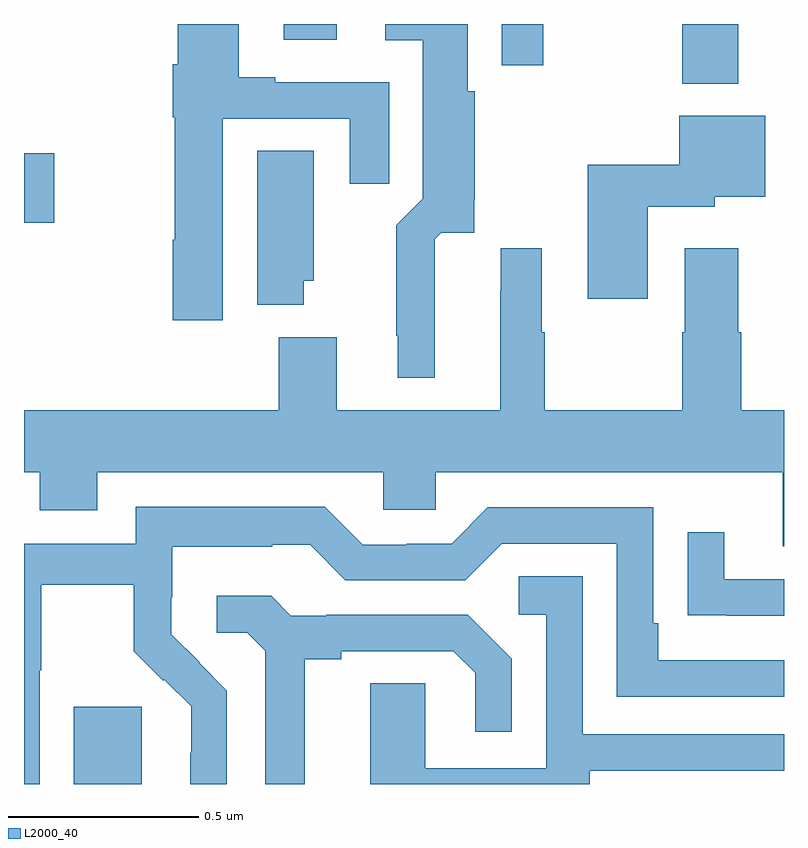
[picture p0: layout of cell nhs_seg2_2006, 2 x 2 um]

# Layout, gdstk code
import gdstk
lib = gdstk.Library(unit=1e-6, precision=1e-09)
def R(c, l, rs):  # rectangles x0, y0, x1, y1
    for r in rs: c.add(gdstk.rectangle(r[:2], r[2:], *l))
def P(c, l, *ps):  # polygons
    for p in ps: c.add(gdstk.Polygon(p, *l))
L2000_40 = (2000, 40)

nhs_seg2_2006 = lib.new_cell('nhs_seg2_2006')
R(nhs_seg2_2006, L2000_40, [(135.131,662.8,135.31,663.003), (135,664.277,135.079,664.46), (136.732,664.643,136.879,664.8), (136.257,664.692,136.366,664.8), (135.683,664.758,135.823,664.8)])
P(nhs_seg2_2006, L2000_40, [(135.523,664.551),(135.857,664.551),(135.857,664.38),(135.961,664.38),(135.961,664.647),(135.661,664.647),(135.661,664.66),(135.565,664.66),(135.565,664.8),(135.404,664.8),(135.404,664.694),(135.392,664.694),(135.392,664.554),(135.397,664.554),(135.397,664.232),(135.392,664.232),(135.392,664.02),(135.523,664.02)],
  [(136.081,664.234),(136.098,664.251),(136.185,664.251),(136.185,664.338),(136.186,664.339),(136.186,664.623),(136.168,664.623),(136.168,664.8),(135.951,664.8),(135.951,664.757),(136.049,664.757),(136.049,664.34),(135.979,664.27),(135.979,663.979),(135.983,663.979),(135.983,663.869),(136.081,663.869)],
  [(136.642,664.319),(136.818,664.319),(136.818,664.346),(136.951,664.346),(136.951,664.558),(136.724,664.558),(136.724,664.429),(136.484,664.429),(136.484,664.077),(136.642,664.077)],
  [(135.736,664.125),(135.763,664.125),(135.763,664.466),(135.614,664.466),(135.614,664.061),(135.736,664.061)],
  [(137,663.784),(136.887,663.784),(136.887,663.989),(136.879,663.989),(136.879,664.21),(136.739,664.21),(136.739,663.989),(136.732,663.989),(136.732,663.784),(136.371,663.784),(136.371,663.989),(136.363,663.989),(136.363,664.21),(136.255,664.21),(136.255,664.097),(136.253,664.097),(136.253,663.784),(135.823,663.784),(135.823,663.976),(135.671,663.976),(135.671,663.784),(135,663.784),(135,663.62),(135.041,663.62),(135.041,663.521),(135.193,663.521),(135.193,663.62),(135.945,663.62),(135.945,663.522),(136.083,663.522),(136.083,663.62),(136.997,663.62),(136.997,663.426),(137,663.426)],
  [(135.042,663.1),(135.045,663.1),(135.045,663.324),(135.289,663.324),(135.289,663.149),(135.366,663.072),(135.369,663.075),(135.44,663.005),(135.44,662.882),(135.438,662.882),(135.438,662.8),(135.534,662.8),(135.534,663.046),(135.461,663.119),(135.462,663.12),(135.388,663.194),(135.388,663.291),(135.39,663.291),(135.39,663.425),(135.653,663.425),(135.653,663.429),(135.753,663.429),(135.846,663.336),(136.161,663.336),(136.257,663.432),(136.56,663.432),(136.56,663.03),(137,663.03),(137,663.126),(136.669,663.126),(136.669,663.223),(136.656,663.223),(136.656,663.528),(136.221,663.528),(136.125,663.432),(136.007,663.432),(136.007,663.429),(135.891,663.429),(135.791,663.529),(135.294,663.529),(135.294,663.432),(135,663.432),(135,662.8),(135.042,662.8)],
  [(137,663.339),(136.843,663.339),(136.843,663.463),(136.747,663.463),(136.747,663.244),(136.849,663.244),(136.849,663.243),(137,663.243)],
  [(136.489,662.835),(137,662.835),(137,662.931),(136.47,662.931),(136.47,663.347),(136.302,663.347),(136.302,663.246),(136.374,663.246),(136.374,662.841),(136.056,662.841),(136.056,663.065),(135.911,663.065),(135.911,662.8),(136.489,662.8)],
  [(135.739,663.128),(135.835,663.128),(135.835,663.15),(136.13,663.15),(136.187,663.093),(136.187,662.937),(136.284,662.937),(136.284,663.13),(136.168,663.246),(135.796,663.246),(135.796,663.243),(135.702,663.243),(135.65,663.295),(135.507,663.295),(135.507,663.198),(135.588,663.198),(135.635,663.151),(135.635,662.8),(135.739,662.8)])

lib.write_gds('nhs_seg2_2006.gds')
